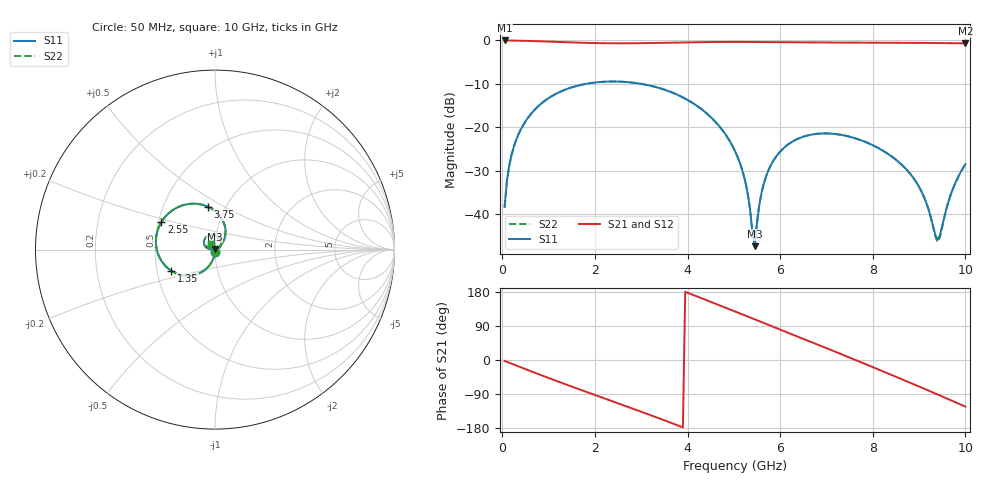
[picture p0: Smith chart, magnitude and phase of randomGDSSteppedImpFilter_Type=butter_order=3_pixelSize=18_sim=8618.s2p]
! freq	dB(S11)	phase(S11)	dB(S12)	phase(S12)
!  dB(S21)	phase(S21)	dB(S22)	phase(S22)
!S-par simulation data
#  GHz  S  DB  R 50
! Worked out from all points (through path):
!   200 points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, 50 MHz to 10 GHz, reference 50 ohm
!   highest |S21| = -0.01 dB at 50 MHz (marker M1); lowest = -0.7 dB at 10 GHz (marker M2)
!   group delay of S21, straight-line fit = 133 ps
!   lowest |S11| = -47.3 dB at 5.45 GHz (marker M3), VSWR 1.01, Z = 49.8 + j0.37 ohm
!   |S11| at or under -10 dB: start of sweep to 1.803 GHz; 3.007 GHz to end of sweep
!   |S22| runs from -46.6 to -9.4 dB; largest |S21 - S12| = 0
!   S11 on the Smith chart (normalised r, x): 50 MHz: 1.00, -0.02; 1.35 GHz: 0.59, -0.15; 2.55 GHz: 0.52, +0.18; 3.75 GHz: 0.83, +0.42; 10 GHz: 0.96, +0.06
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0.05  -38.32 -92.3  -0.01 -2.5  -0.01 -2.5  -38.32 -92.3
0.15  -28.81 -97.4  -0.02 -7.3  -0.02 -7.3  -28.81 -97.4
0.4  -20.46 -109.7  -0.06 -19.3  -0.06 -19.3  -20.46 -109.7
1.35  -11.36 -154.0  -0.40 -63.4  -0.40 -63.4  -11.36 -154.0
1.75  -10.11 -172.0  -0.54 -81.3  -0.54 -81.3  -10.11 -172.0
2.55  -9.48 152.9  -0.66 -116.5  -0.66 -116.5  -9.48 152.9
3.4  -10.98 115.0  -0.56 -154.5  -0.56 -154.5  -10.98 115.1
3.75  -12.35 99.0  -0.49 -170.7  -0.49 -170.7  -12.35 99.0
4.4  -16.66 68.7  -0.38 158.4  -0.38 158.4  -16.66 68.8
5.05  -26.03 40.2  -0.34 126.9  -0.34 126.9  -26.02 40.6
5.3  -35.25 36.9  -0.35 114.6  -0.35 114.6  -35.21 38.2
5.45  -47.33 120.1  -0.36 107.3  -0.36 107.3  -46.56 119.2
5.6  -34.94 175.9  -0.37 100.0  -0.37 100.0  -34.89 174.6
5.8  -28.69 172.7  -0.39 90.2  -0.39 90.2  -28.68 172.0
6.15  -24.10 158.0  -0.42 73.1  -0.42 73.1  -24.09 157.5
6.7  -21.62 131.4  -0.46 46.1  -0.46 46.1  -21.61 131.0
7.55  -22.29 88.1  -0.50 3.9  -0.50 3.9  -22.28 87.7
8.35  -26.25 46.7  -0.53 -36.6  -0.53 -36.6  -26.24 46.0
9  -33.69 18.8  -0.57 -70.1  -0.57 -70.1  -33.69 17.6
9.4  -45.82 71.5  -0.60 -91.0  -0.60 -91.0  -46.38 70.3
9.7  -34.95 130.6  -0.63 -106.9  -0.63 -106.9  -35.02 131.3
10  -28.46 124.7  -0.67 -123.1  -0.67 -123.1  -28.48 124.9
